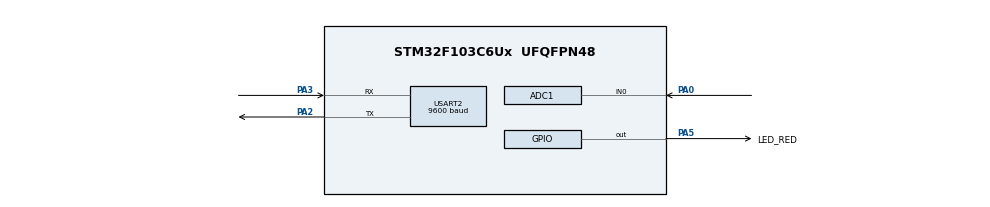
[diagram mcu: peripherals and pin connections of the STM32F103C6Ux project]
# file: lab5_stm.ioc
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ADC1.Channel-1\#ChannelRegularConversion=ADC_CHANNEL_0
ADC1.ContinuousConvMode=ENABLE
ADC1.NbrOfConversionFlag=1
ADC1.Rank-1\#ChannelRegularConversion=1
ADC1.SamplingTime-1\#ChannelRegularConversion=ADC_SAMPLETIME_1CYCLE_5
ADC1.master=1
Mcu.Family=STM32F1
Mcu.Name=STM32F103C6Ux
Mcu.Package=UFQFPN48
NVIC.PriorityGroup=NVIC_PRIORITYGROUP_4
NVIC.TIM2_IRQn=true\:0\:0\:false\:false\:true\:true\:true
NVIC.USART2_IRQn=true\:0\:0\:false\:false\:true\:true\:true
PA0-WKUP.Signal=ADCx_IN0
PA13.Mode=Serial_Wire
PA13.Signal=SYS_JTMS-SWDIO
PA14.Mode=Serial_Wire
PA14.Signal=SYS_JTCK-SWCLK
PA2.Mode=Asynchronous
PA2.Signal=USART2_TX
PA3.Mode=Asynchronous
PA3.Signal=USART2_RX
PA5.GPIO_Label=LED_RED
PA5.Signal=GPIO_Output
ProjectManager.HeapSize=0x200
ProjectManager.StackSize=0x400
ProjectManager.TargetToolchain=STM32CubeIDE
RCC.APB1Freq_Value=8000000
RCC.APB2Freq_Value=8000000
SH.ADCx_IN0.0=ADC1_IN0,IN0
TIM2.Period=10
TIM2.Prescaler=7999
USART2.BaudRate=9600
USART2.VirtualMode=VM_ASYNC
VP_TIM2_VS_ClockSourceINT.Mode=Internal
board=custom

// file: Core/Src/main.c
/* USER CODE BEGIN Header */
/**
  ******************************************************************************
  * @file           : main.c
  * @brief          : Main program body
  ******************************************************************************
  * @attention
  *
  * <h2><center>&copy; Copyright (c) 2022 STMicroelectronics.
  * All rights reserved.</center></h2>
  *
  * This software component is licensed by ST under BSD 3-Clause license,
  * the "License"; You may not use this file except in compliance with the
  * License. You may obtain a copy of the License at:
  *                        opensource.org/licenses/BSD-3-Clause
  *
  ******************************************************************************
  */
/* USER CODE END Header */
#include "main.h"

/* USER CODE BEGIN Includes */
#include <stdio.h>
#include "global.h"
/* USER CODE END Includes */

ADC_HandleTypeDef hadc1;

TIM_HandleTypeDef htim2;

UART_HandleTypeDef huart2;

void SystemClock_Config(void);
static void MX_GPIO_Init(void);
static void MX_ADC1_Init(void);
static void MX_USART2_UART_Init(void);
static void MX_TIM2_Init(void);

/* USER CODE BEGIN 0 */
void HAL_UART_RxCpltCallback (UART_HandleTypeDef * huart){
	if( huart->Instance == USART2 ) {
		HAL_UART_Transmit (&huart2 , &temp , 1, 50);
		buffer[index_buffer++] = temp;
		if (buffer[index_buffer-1] == 8) {
			index_buffer = index_buffer-2;
		}
		if (index_buffer == 30) {
			index_buffer = 0;
		}
		buffer_flag  = 1;
		HAL_UART_Receive_IT (&huart2, &temp, 1);
	}
}
/* USER CODE END 0 */

int main(void)
{

  /* MCU Configuration--------------------------------------------------------*/

  /* Reset of all peripherals, Initializes the Flash interface and the Systick. */
  HAL_Init();

  /* Configure the system clock */
  SystemClock_Config();

  /* Initialize all configured peripherals */
  MX_GPIO_Init();
  MX_ADC1_Init();
  MX_USART2_UART_Init();
  MX_TIM2_Init();
  /* USER CODE BEGIN 2 */
  HAL_TIM_Base_Start_IT (&htim2);
  HAL_UART_Receive_IT(&huart2, &temp, 1);
  HAL_ADC_Start(&hadc1);
  /* USER CODE END 2 */

  /* Infinite loop */
  /* USER CODE BEGIN WHILE */
  char str[20];
  setTimer0(100);
  while (1)
  {
	  HAL_GPIO_TogglePin(LED_RED_GPIO_Port , LED_RED_Pin) ;
	  ADC_value = HAL_ADC_GetValue(&hadc1) ;
	  if(buffer_flag == 1){
		  buffer_flag = 0;
		  if (check(index_buffer-1) == 1){
			  command_parser_fsm();
		  }
	  }
	  if (command_status == 1){
		  if (timer0_flag == 1){
			  HAL_UART_Transmit (&huart2 , (void *)str , sprintf(str, "!ADC=%d#\r\n",old_value) , 500) ;
			  setTimer0(3000);
		  }
	  }
	  HAL_Delay(500);

    /* USER CODE END WHILE */

  }
}

void SystemClock_Config(void)
{
  RCC_OscInitTypeDef RCC_OscInitStruct = {0};
  RCC_ClkInitTypeDef RCC_ClkInitStruct = {0};
  RCC_PeriphCLKInitTypeDef PeriphClkInit = {0};

  /** Initializes the RCC Oscillators according to the specified parameters
  * in the RCC_OscInitTypeDef structure.
  */
  RCC_OscInitStruct.OscillatorType = RCC_OSCILLATORTYPE_HSI;
  RCC_OscInitStruct.HSIState = RCC_HSI_ON;
  RCC_OscInitStruct.HSICalibrationValue = RCC_HSICALIBRATION_DEFAULT;
  RCC_OscInitStruct.PLL.PLLState = RCC_PLL_NONE;
  if (HAL_RCC_OscConfig(&RCC_OscInitStruct) != HAL_OK)
  {
    Error_Handler();
  }
  /** Initializes the CPU, AHB and APB buses clocks
  */
  RCC_ClkInitStruct.ClockType = RCC_CLOCKTYPE_HCLK|RCC_CLOCKTYPE_SYSCLK
                              |RCC_CLOCKTYPE_PCLK1|RCC_CLOCKTYPE_PCLK2;
  RCC_ClkInitStruct.SYSCLKSource = RCC_SYSCLKSOURCE_HSI;
  RCC_ClkInitStruct.AHBCLKDivider = RCC_SYSCLK_DIV1;
  RCC_ClkInitStruct.APB1CLKDivider = RCC_HCLK_DIV1;
  RCC_ClkInitStruct.APB2CLKDivider = RCC_HCLK_DIV1;

  if (HAL_RCC_ClockConfig(&RCC_ClkInitStruct, FLASH_LATENCY_0) != HAL_OK)
  {
    Error_Handler();
  }
  PeriphClkInit.PeriphClockSelection = RCC_PERIPHCLK_ADC;
  PeriphClkInit.AdcClockSelection = RCC_ADCPCLK2_DIV2;
  if (HAL_RCCEx_PeriphCLKConfig(&PeriphClkInit) != HAL_OK)
  {
    Error_Handler();
  }
}

static void MX_ADC1_Init(void)
{

  ADC_ChannelConfTypeDef sConfig = {0};

  /** Common config
  */
  hadc1.Instance = ADC1;
  hadc1.Init.ScanConvMode = ADC_SCAN_DISABLE;
  hadc1.Init.ContinuousConvMode = ENABLE;
  hadc1.Init.DiscontinuousConvMode = DISABLE;
  hadc1.Init.ExternalTrigConv = ADC_SOFTWARE_START;
  hadc1.Init.DataAlign = ADC_DATAALIGN_RIGHT;
  hadc1.Init.NbrOfConversion = 1;
  if (HAL_ADC_Init(&hadc1) != HAL_OK)
  {
    Error_Handler();
  }
  /** Configure Regular Channel
  */
  sConfig.Channel = ADC_CHANNEL_0;
  sConfig.Rank = ADC_REGULAR_RANK_1;
  sConfig.SamplingTime = ADC_SAMPLETIME_1CYCLE_5;
  if (HAL_ADC_ConfigChannel(&hadc1, &sConfig) != HAL_OK)
  {
    Error_Handler();
  }

}

static void MX_TIM2_Init(void)
{

  TIM_ClockConfigTypeDef sClockSourceConfig = {0};
  TIM_MasterConfigTypeDef sMasterConfig = {0};

  htim2.Instance = TIM2;
  htim2.Init.Prescaler = 7999;
  htim2.Init.CounterMode = TIM_COUNTERMODE_UP;
  htim2.Init.Period = 10;
  htim2.Init.ClockDivision = TIM_CLOCKDIVISION_DIV1;
  htim2.Init.AutoReloadPreload = TIM_AUTORELOAD_PRELOAD_DISABLE;
  if (HAL_TIM_Base_Init(&htim2) != HAL_OK)
  {
    Error_Handler();
  }
  sClockSourceConfig.ClockSource = TIM_CLOCKSOURCE_INTERNAL;
  if (HAL_TIM_ConfigClockSource(&htim2, &sClockSourceConfig) != HAL_OK)
  {
    Error_Handler();
  }
  sMasterConfig.MasterOutputTrigger = TIM_TRGO_RESET;
  sMasterConfig.MasterSlaveMode = TIM_MASTERSLAVEMODE_DISABLE;
  if (HAL_TIMEx_MasterConfigSynchronization(&htim2, &sMasterConfig) != HAL_OK)
  {
    Error_Handler();
  }

}

static void MX_USART2_UART_Init(void)
{

  huart2.Instance = USART2;
  huart2.Init.BaudRate = 9600;
  huart2.Init.WordLength = UART_WORDLENGTH_8B;
  huart2.Init.StopBits = UART_STOPBITS_1;
  huart2.Init.Parity = UART_PARITY_NONE;
  huart2.Init.Mode = UART_MODE_TX_RX;
  huart2.Init.HwFlowCtl = UART_HWCONTROL_NONE;
  huart2.Init.OverSampling = UART_OVERSAMPLING_16;
  if (HAL_UART_Init(&huart2) != HAL_OK)
  {
    Error_Handler();
  }

}

static void MX_GPIO_Init(void)
{
  GPIO_InitTypeDef GPIO_InitStruct = {0};

  /* GPIO Ports Clock Enable */
  __HAL_RCC_GPIOA_CLK_ENABLE();

  /*Configure GPIO pin Output Level */
  HAL_GPIO_WritePin(LED_RED_GPIO_Port, LED_RED_Pin, GPIO_PIN_RESET);

  /*Configure GPIO pin : LED_RED_Pin */
  GPIO_InitStruct.Pin = LED_RED_Pin;
  GPIO_InitStruct.Mode = GPIO_MODE_OUTPUT_PP;
  GPIO_InitStruct.Pull = GPIO_NOPULL;
  GPIO_InitStruct.Speed = GPIO_SPEED_FREQ_LOW;
  HAL_GPIO_Init(LED_RED_GPIO_Port, &GPIO_InitStruct);

}

/* USER CODE BEGIN 4 */
void HAL_TIM_PeriodElapsedCallback(TIM_HandleTypeDef* htim){
	timerRun();
}
/* USER CODE END 4 */

void Error_Handler(void)
{
  __disable_irq();
  while (1)
  {
  }
}

/************************ (C) COPYRIGHT STMicroelectronics *****END OF FILE****/
